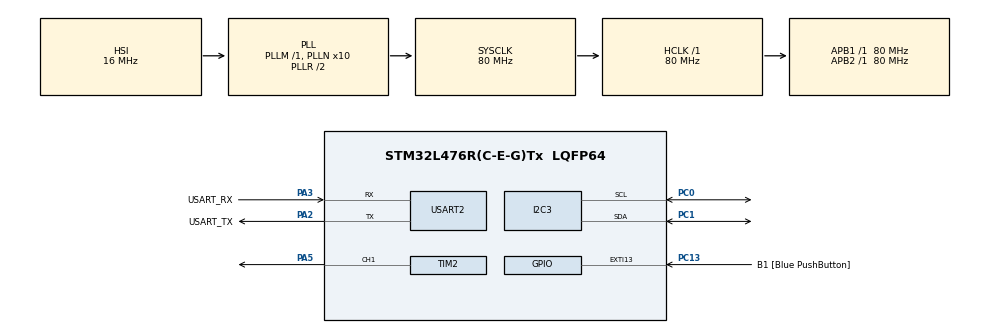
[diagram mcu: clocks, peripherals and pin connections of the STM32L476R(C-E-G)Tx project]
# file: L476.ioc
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I2C3.Timing=0x10909CEC
Mcu.Family=STM32L4
Mcu.Name=STM32L476R(C-E-G)Tx
Mcu.Package=LQFP64
NVIC.PriorityGroup=NVIC_PRIORITYGROUP_4
PA13\ (JTMS-SWDIO).GPIO_Label=TMS
PA13\ (JTMS-SWDIO).Mode=Serial_Wire
PA13\ (JTMS-SWDIO).Signal=SYS_JTMS-SWDIO
PA14\ (JTCK-SWCLK).GPIO_Label=TCK
PA14\ (JTCK-SWCLK).Mode=Serial_Wire
PA14\ (JTCK-SWCLK).Signal=SYS_JTCK-SWCLK
PA2.GPIO_Label=USART_TX
PA2.GPIO_Mode=GPIO_MODE_AF_PP
PA2.GPIO_PuPd=GPIO_NOPULL
PA2.GPIO_Speed=GPIO_SPEED_FREQ_VERY_HIGH
PA2.Mode=Asynchronous
PA2.Signal=USART2_TX
PA3.GPIO_Label=USART_RX
PA3.GPIO_Mode=GPIO_MODE_AF_PP
PA3.GPIO_PuPd=GPIO_NOPULL
PA3.GPIO_Speed=GPIO_SPEED_FREQ_VERY_HIGH
PA3.Mode=Asynchronous
PA3.Signal=USART2_RX
PA5.Signal=S_TIM2_CH1
PB3\ (JTDO-TRACESWO).GPIO_Label=SWO
PB3\ (JTDO-TRACESWO).Signal=SYS_JTDO-SWO
PC0.Mode=I2C
PC0.Signal=I2C3_SCL
PC1.Mode=I2C
PC1.Signal=I2C3_SDA
PC13.GPIO_Label=B1 [Blue PushButton]
PC13.GPIO_ModeDefaultEXTI=GPIO_MODE_IT_FALLING
PC13.GPIO_PuPd=GPIO_NOPULL
PC13.Signal=GPXTI13
PC14-OSC32_IN\ (PC14).Mode=LSE-External-Oscillator
PC14-OSC32_IN\ (PC14).Signal=RCC_OSC32_IN
PC15-OSC32_OUT\ (PC15).Mode=LSE-External-Oscillator
PC15-OSC32_OUT\ (PC15).Signal=RCC_OSC32_OUT
PH0-OSC_IN\ (PH0).Signal=RCC_OSC_IN
PH1-OSC_OUT\ (PH1).Signal=RCC_OSC_OUT
ProjectManager.HeapSize=0x200
ProjectManager.StackSize=0x400
ProjectManager.TargetToolchain=STM32CubeIDE
RCC.ADCFreq_Value=64000000
RCC.AHBFreq_Value=80000000
RCC.APB1Freq_Value=80000000
RCC.APB1TimFreq_Value=80000000
RCC.APB2Freq_Value=80000000
RCC.APB2TimFreq_Value=80000000
RCC.CortexFreq_Value=80000000
RCC.HCLKFreq_Value=80000000
RCC.HSE_VALUE=8000000
RCC.HSI_VALUE=16000000
RCC.MSI_VALUE=4000000
RCC.PLLN=10
RCC.PLLSourceVirtual=RCC_PLLSOURCE_HSI
RCC.PREFETCH_ENABLE=1
RCC.SYSCLKFreq_VALUE=80000000
RCC.SYSCLKSource=RCC_SYSCLKSOURCE_PLLCLK
RCC.USBFreq_Value=64000000
RCC.VCOOutputFreq_Value=160000000
SH.S_TIM2_CH1.0=TIM2_CH1,PWM Generation1 CH1
TIM2.AutoReloadPreload=TIM_AUTORELOAD_PRELOAD_ENABLE
TIM2.Channel-PWM\ Generation1\ CH1=TIM_CHANNEL_1
TIM2.Period=39999
TIM2.Prescaler=1999
USART2.VirtualMode-Asynchronous=VM_ASYNC
VP_TIM2_VS_ClockSourceINT.Mode=Internal
board=NUCLEO-L476RG

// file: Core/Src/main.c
/* USER CODE BEGIN Header */
/**
  ******************************************************************************
  * @file           : main.c
  * @brief          : Main program body
  ******************************************************************************
  * @attention
  *
  * Copyright (c) 2023 STMicroelectronics.
  * All rights reserved.
  *
  * This software is licensed under terms that can be found in the LICENSE file
  * in the root directory of this software component.
  * If no LICENSE file comes with this software, it is provided AS-IS.
  *
  ******************************************************************************
  */
/* USER CODE END Header */
#include "main.h"
#include "i2c.h"
#include "tim.h"
#include "usart.h"
#include "gpio.h"

/* USER CODE BEGIN Includes */
#include <string.h>

#include "../../Sensors/bmp280/bmp280.h"
#include "../../Sensors/bmp280/bmp280_application.h"

#include "../../Sensors/vl6180x/vl6180x_application.h"
/* USER CODE END Includes */

void SystemClock_Config(void);

/* USER CODE BEGIN 0 */

void bmp280_loop()
{
//	bmp280_initialize();
	bmp280_application_initialize();

	double altitude;
	uint8_t msg[64];
	uint16_t msg_len;

	while(true)
	{
		bmp280_application_get_altitude_delta(&altitude);

		msg_len = (uint16_t)sprintf((char*)msg, "BMP280: Altitude: %7.3f cm\r\n", altitude*100);
		HAL_UART_Transmit(&huart2, msg, msg_len, HAL_MAX_DELAY);
		HAL_Delay(2000);
	}

}

void vl6180x_loop()
{
	bool result;
	uint8_t msg[92];
	uint16_t msg_len;
	uint8_t distance_mm;
	HAL_StatusTypeDef retval;

	uint8_t data_buffer[2] = {0};
	uint8_t memory_address = 0x000;
	uint16_t data_length = 2; //sizeof(data_buffer)/ sizeof(data_buffer[0]);
	uint16_t device_address = (0x29 << 1);

	retval = HAL_I2C_Mem_Read(&hi2c3, device_address, 0x016, I2C_MEMADD_SIZE_16BIT, data_buffer, data_length, HAL_MAX_DELAY);
	if (retval == HAL_OK)
	{
		msg_len = (uint16_t)sprintf((char*)msg, "VL6180X - read registers: addr: 0x%x | Startup flag: %d (0x%x) [OK]\r\n", 0x016,  data_buffer[0], data_buffer[1]);
	}
	HAL_UART_Transmit(&huart2, msg, msg_len, HAL_MAX_DELAY);

	retval = HAL_I2C_Mem_Read(&hi2c3, device_address, memory_address, I2C_MEMADD_SIZE_16BIT, data_buffer, data_length, HAL_MAX_DELAY);
	if (retval == HAL_OK)
	{
		msg_len = (uint16_t)sprintf((char*)msg, "VL6180X - read registers: addr: 0x%x | Device ID: %d (0x%x) [OK]\r\n", memory_address,  data_buffer[0], data_buffer[1]);
	}
	HAL_UART_Transmit(&huart2, msg, msg_len, HAL_MAX_DELAY);

	retval = HAL_I2C_Mem_Read(&hi2c3, device_address, memory_address, I2C_MEMADD_SIZE_8BIT, data_buffer, data_length, HAL_MAX_DELAY);
	if (retval == HAL_OK)
	{
		msg_len = (uint16_t)sprintf((char*)msg, "VL6180X - read registers: addr: 0x%x | Device ID: %d (0x%x) [OK]\r\n", memory_address, data_buffer[0], data_buffer[1]);
	}
	HAL_UART_Transmit(&huart2, msg, msg_len, HAL_MAX_DELAY);

	result = vl6180x_application_initialize_device();
	if (result == true)
	{
		msg_len = (uint16_t)sprintf((char*)msg, "VL6180X: device initialization OK: %d\r\n", result);

	}
	else
	{
		msg_len = (uint16_t)sprintf((char*)msg, "VL6180X: device initialization FAILED: %d\r\n", result);
	}
	HAL_UART_Transmit(&huart2, msg, msg_len, HAL_MAX_DELAY);

	while(true && (result == true))
	{
		vl6180x_application_poll_measurement(&distance_mm);
		msg_len = (uint16_t)sprintf((char*)msg, "VL6180X: Distance: %dmm\r\n", distance_mm);
		HAL_UART_Transmit(&huart2, msg, msg_len, HAL_MAX_DELAY);

		HAL_Delay(1000);
	}
}
/* USER CODE END 0 */

int main(void)
{

  /* MCU Configuration--------------------------------------------------------*/

  /* Reset of all peripherals, Initializes the Flash interface and the Systick. */
  HAL_Init();

  /* Configure the system clock */
  SystemClock_Config();

  /* Initialize all configured peripherals */
  MX_GPIO_Init();
  MX_USART2_UART_Init();
  MX_TIM2_Init();
  MX_I2C3_Init();
  /* USER CODE BEGIN 2 */

  uint8_t msg[64];
  sprintf((char *)msg, "Hello World\r\n");
  HAL_UART_Transmit(&huart2, msg, (uint16_t)strlen((char*)msg), HAL_MAX_DELAY);

  HAL_TIM_PWM_Start(&htim2, TIM_CHANNEL_1);
  __HAL_TIM_SET_COMPARE(&htim2, TIM_CHANNEL_1, 20e3);

  uint16_t msg_len;

  for (uint8_t i2c_addr = 0; i2c_addr < 127; i2c_addr++)
  {
	  HAL_StatusTypeDef result = HAL_I2C_IsDeviceReady(&hi2c3, (i2c_addr << 1), 3, 1000);
	  if (result == HAL_OK)
	  {
		  msg_len = (uint16_t)sprintf((char *)msg, "I2C device found at: %d (0x%x)\r\n", i2c_addr, i2c_addr);
		  HAL_UART_Transmit(&huart2, msg, msg_len, 1000);
	  }
  }

//  bmp280_loop();
  vl6180x_loop();

  msg_len = (uint16_t)sprintf((char *)msg, "Uh, we're not supposed to come here :/\r\n");
  HAL_UART_Transmit(&huart2, msg, msg_len, 1000);

  /* USER CODE END 2 */

  /* Infinite loop */
  while (1)
  {

  }
}

void SystemClock_Config(void)
{
  RCC_OscInitTypeDef RCC_OscInitStruct = {0};
  RCC_ClkInitTypeDef RCC_ClkInitStruct = {0};

  /** Configure the main internal regulator output voltage
  */
  if (HAL_PWREx_ControlVoltageScaling(PWR_REGULATOR_VOLTAGE_SCALE1) != HAL_OK)
  {
    Error_Handler();
  }

  /** Initializes the RCC Oscillators according to the specified parameters
  * in the RCC_OscInitTypeDef structure.
  */
  RCC_OscInitStruct.OscillatorType = RCC_OSCILLATORTYPE_HSI;
  RCC_OscInitStruct.HSIState = RCC_HSI_ON;
  RCC_OscInitStruct.HSICalibrationValue = RCC_HSICALIBRATION_DEFAULT;
  RCC_OscInitStruct.PLL.PLLState = RCC_PLL_ON;
  RCC_OscInitStruct.PLL.PLLSource = RCC_PLLSOURCE_HSI;
  RCC_OscInitStruct.PLL.PLLM = 1;
  RCC_OscInitStruct.PLL.PLLN = 10;
  RCC_OscInitStruct.PLL.PLLP = RCC_PLLP_DIV7;
  RCC_OscInitStruct.PLL.PLLQ = RCC_PLLQ_DIV2;
  RCC_OscInitStruct.PLL.PLLR = RCC_PLLR_DIV2;
  if (HAL_RCC_OscConfig(&RCC_OscInitStruct) != HAL_OK)
  {
    Error_Handler();
  }

  /** Initializes the CPU, AHB and APB buses clocks
  */
  RCC_ClkInitStruct.ClockType = RCC_CLOCKTYPE_HCLK|RCC_CLOCKTYPE_SYSCLK
                              |RCC_CLOCKTYPE_PCLK1|RCC_CLOCKTYPE_PCLK2;
  RCC_ClkInitStruct.SYSCLKSource = RCC_SYSCLKSOURCE_PLLCLK;
  RCC_ClkInitStruct.AHBCLKDivider = RCC_SYSCLK_DIV1;
  RCC_ClkInitStruct.APB1CLKDivider = RCC_HCLK_DIV1;
  RCC_ClkInitStruct.APB2CLKDivider = RCC_HCLK_DIV1;

  if (HAL_RCC_ClockConfig(&RCC_ClkInitStruct, FLASH_LATENCY_4) != HAL_OK)
  {
    Error_Handler();
  }
}

void Error_Handler(void)
{
  __disable_irq();
  while (1)
  {
  }
}
